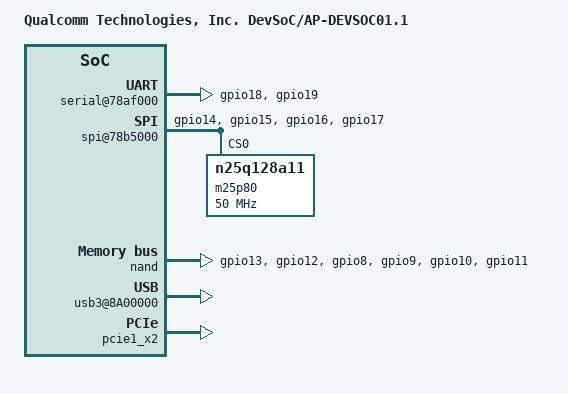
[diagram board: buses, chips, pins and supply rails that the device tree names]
// SPDX-License-Identifier: (GPL-2.0+ OR BSD-3-Clause)
/*
 * Dev SoC AP-DEVSOC01.1 board device tree source
 *
 * Copyright (c) 2020-2021 The Linux Foundation. All rights reserved.
 * Copyright (c) 2022 Qualcomm Innovation Center, Inc. All rights reserved.
 */

/dts-v1/;

#include "devsoc.dtsi"

#ifdef __IPQ_MEM_PROFILE_512_MB__
#include "devsoc-512MB-memory.dtsi"
#else
#include "devsoc-default-memory.dtsi"
#endif

/ {
	#address-cells = <0x2>;
	#size-cells = <0x2>;
	model = "Qualcomm Technologies, Inc. DevSoC/AP-DEVSOC01.1";
	compatible = "qcom,devsoc-ap-devsoc01.1", "qcom,devsoc";
	interrupt-parent = <&intc>;

	aliases {
		serial0 = &blsp1_uart0;
		serial1 = &blsp1_uart1;
	};

	chosen {
		stdout-path = "serial0";
	};

	soc {
		pinctrl@1000000 {
			emmc_pins: emmc_pins {
				emmc_clk {
					pins = "gpio13";
					function = "sdc_clk";
					drive-strength = <8>;
					bias-disable;
				};
				emmc_cmd {
					pins = "gpio12";
					function = "sdc_cmd";
					drive-strength = <8>;
					bias-pull-up;
				};
				emmc_data {
					pins = "gpio8", "gpio9", "gpio10",
						"gpio11";
					function = "sdc_data";
					drive-strength = <8>;
					bias-pull-up;
				};
			};

			qspi_nand_pins: qspi_nand_pins {
				qspi_clock {
					pins = "gpio13";
					function = "qspi_clk";
					drive-strength = <8>;
					bias-disable;
				};

				qspi_cs {
					pins = "gpio12";
					function = "qspi_cs";
					drive-strength = <8>;
					bias-disable;
				};

				qspi_data {
					pins = "gpio8", "gpio9", "gpio10", "gpio11";
					function = "qspi_data";
					drive-strength = <8>;
					bias-disable;
				};
			};

			spi_0_pins: spi0-pinmux {
				pins = "gpio14", "gpio15", "gpio16", "gpio17";
				function = "blsp0_spi";
				drive-strength = <2>;
				bias-disable;
			};

			serial_0_pins: serial0-pinmux {
				pins = "gpio18", "gpio19";
				function = "blsp0_uart0";
				drive-strength = <8>;
				bias-pull-down;
			};

			serial_1_pins: serial1-pinmux {
				pins = "gpio25", "gpio26", "gpio27", "gpio28";
				function = "blsp1_uart1";
				drive-strength = <8>;
				bias-pull-down;
			};

			i2c_1_pins: i2c-1-pinmux {
				pins = "gpio29", "gpio30";
				function = "blsp1_i2c0";
				drive-strength = <8>;
				bias-disable;
			};
		};

		gcc: gcc@1800000 {
			gcc-use-dummy;
		};

		nsscc: nsscc@39b00000 {
			nsscc-use-dummy;
		};

		serial@78af000 {
			pinctrl-0 = <&serial_0_pins>;
			pinctrl-names = "default";
			status = "ok";
		};

		serial@78b0000 {
			pinctrl-0 = <&serial_1_pins>;
			pinctrl-names = "default";
		};

		spi@78b5000 {
			pinctrl-0 = <&spi_0_pins>;
			pinctrl-names = "default";
			cs-select = <0>;
			status = "ok";

			m25p80@0 {
				compatible = "n25q128a11";
				#address-cells = <1>;
				#size-cells = <1>;
				reg = <0>;
				spi-max-frequency = <50000000>;
			};
		};

		i2c_1: i2c@78b6000 {
			pinctrl-0 = <&i2c_1_pins>;
			pinctrl-names = "default";
		};

		dma@7984000 {
			status = "ok";
		};

		nand: nand@79b0000 {
			pinctrl-0 = <&qspi_nand_pins>;
			pinctrl-names = "default";
			status = "ok";
		};

		usb3@8A00000 {
			status = "ok";
		};

		ssuniphy_0: ssuniphy@4b0000 {
			status = "ok";
		};

		hs_m31phy_0: hs_m31phy@7b000 {
			status = "ok";
		};

		pcie1_x2: pcie@18000000 {
			max-link-speed = <1>;
			perst-gpio = <&tlmm 47 GPIO_ACTIVE_LOW>;
			status = "ok";
			pcie_x2_rp {
				reg = <0 0 0 0 0>;

				qcom,mhi@1 {
					reg = <0 0 0 0 0>;
					qrtr_instance_id = <0x20>;
				};
			};
		};
	};
};
